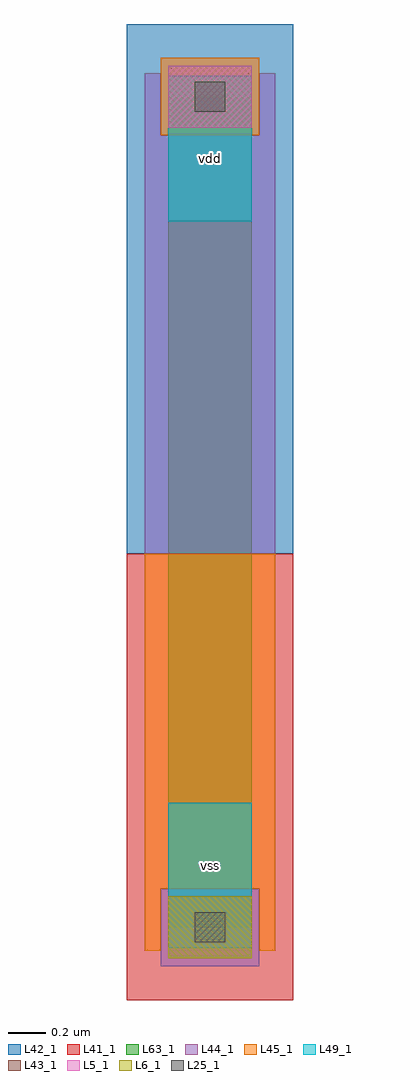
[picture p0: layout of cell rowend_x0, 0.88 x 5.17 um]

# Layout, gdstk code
import gdstk
lib = gdstk.Library(unit=1e-6, precision=1e-09)
def R(c, l, rs):  # rectangles x0, y0, x1, y1
    for r in rs: c.add(gdstk.rectangle(r[:2], r[2:], *l))
L5_1 = (5, 1)
L6_1 = (6, 1)
L25_1 = (25, 1)
L41_1 = (41, 1)
L42_1 = (42, 1)
L43_1 = (43, 1)
L44_1 = (44, 1)
L45_1 = (45, 1)
L49_1 = (49, 1)
L63_1 = (63, 1)

rowend_x0 = lib.new_cell('rowend_x0')
R(rowend_x0, L5_1, [(0,4.235,0.44,4.565)])
R(rowend_x0, L6_1, [(0,-0.165,0.44,0.165)])
R(rowend_x0, L25_1, [(0.14,-0.08,0.3,0.08), (0.14,4.32,0.3,4.48)])
R(rowend_x0, L41_1, [(-0.22,-0.385,0.66,1.98)])
R(rowend_x0, L42_1, [(-0.22,1.98,0.66,4.785)])
R(rowend_x0, L43_1, [(0,-0.165,0.44,0.165), (0,4.235,0.44,4.565)])
R(rowend_x0, L44_1, [(-0.04,-0.205,0.48,0.205), (-0.125,1.98,0.565,4.195), (-0.125,4.195,-0.04,4.525), (0.48,4.195,0.565,4.525)])
R(rowend_x0, L45_1, [(-0.125,-0.125,-0.04,0.205), (0.48,-0.125,0.565,0.205), (-0.125,0.205,0.565,1.98), (-0.04,4.195,0.48,4.605)])
R(rowend_x0, L49_1, [(0,-0.11,0.44,0.66), (0,3.74,0.44,4.51)])
R(rowend_x0, L63_1, [(0,0,0.44,4.4)])
rowend_x0.add(gdstk.Label('vss', (0.22,0.33), layer=49, texttype=1))
rowend_x0.add(gdstk.Label('vdd', (0.22,4.07), layer=49, texttype=1))

lib.write_gds('rowend_x0.gds')
